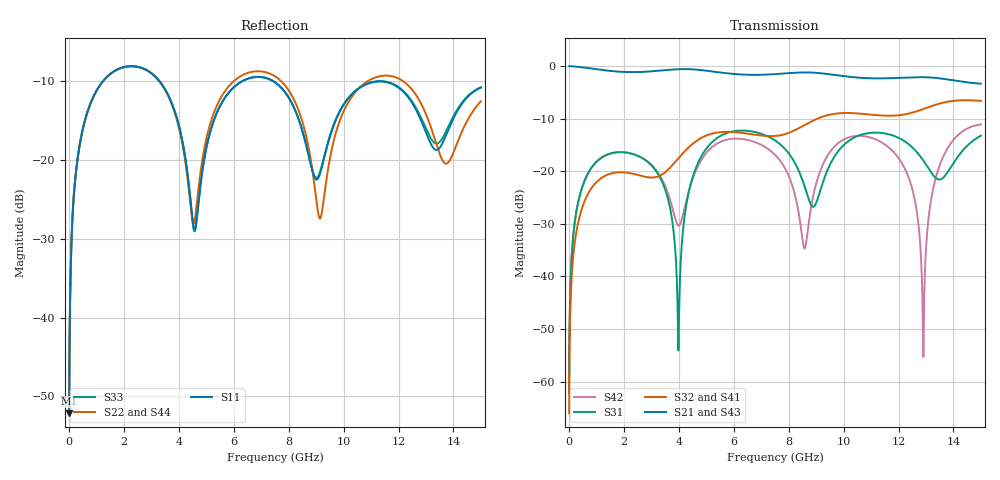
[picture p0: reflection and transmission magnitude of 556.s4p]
! Created with skrf 1.8.0 (http://scikit-rf.org).
# GHz S RI R 50.0
!freq ReS11 ImS11 ReS12 ImS12 ReS13 ImS13
! ReS14 ImS14
! ReS21 ImS21 ReS22 ImS22 ReS23 ImS23
! ReS24 ImS24
! ReS31 ImS31 ReS32 ImS32 ReS33 ImS33
! ReS34 ImS34
! ReS41 ImS41 ReS42 ImS42 ReS43 ImS43
! ReS44 ImS44
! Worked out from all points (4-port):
!   2499 points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, 5 MHz to 15 GHz, reference 50 ohm
!   strongest paths, dB at 5 MHz, 3.476 GHz, 7.19 GHz, 11.1 GHz, 15 GHz:
!     S21: 0.0, -0.8, -1.6, -2.3, -3.3
!     S43: 0.0, -0.8, -1.6, -2.3, -3.4
!     S32: -66.0, -20.3, -13.3, -9.3, -6.6
!     S41: -66.0, -20.3, -13.4, -9.3, -6.6
!     S31: -62.1, -23.1, -13.3, -12.7, -13.2
!     S42: -62.1, -22.5, -15.5, -13.8, -11.1
!   lowest |S11| = -52.1 dB at 5 MHz (marker M1), VSWR 1.00, Z = 50.2 + j0.15 ohm
!   |S11| at or under -10 dB: start of sweep to 1.236 GHz; 3.299 GHz to 6.292 GHz (2.993 GHz wide, 62.4 % of centre); 7.454 GHz to end of sweep
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0.005  0.00197 0.0015  0.998 -0.00383  0.0001 0.000779  -9.7e-05 -0.00049
       0.998 -0.00383  0.00197 0.0015  -9.7e-05 -0.00049  9.99e-05 0.000779
       0.0001 0.000779  -9.7e-05 -0.00049  0.00197 0.0015  0.998 -0.00383
       -9.7e-05 -0.00049  9.99e-05 0.000779  0.998 -0.00383  0.00197 0.0015
1.269279  0.2661 0.1802  0.5596 -0.7225  0.1244 0.0618  -0.0887 -0.00822
          0.5596 -0.7225  0.2661 0.1801  -0.0888 -0.00813  0.1243 0.0619
          0.1244 0.0618  -0.0888 -0.00813  0.2661 0.1802  0.5596 -0.7226
          -0.0887 -0.00822  0.1243 0.0619  0.5596 -0.7226  0.2662 0.1801
3.989162  0.0906 -0.1425  -0.8301 -0.4279  0.00174 0.00108  -0.0578 0.1201
          -0.8301 -0.4279  0.0907 -0.1374  -0.0568 0.1205  -0.0275 -0.0129
          0.00174 0.00108  -0.0568 0.1205  0.0903 -0.1429  -0.8301 -0.4278
          -0.0578 0.1201  -0.0275 -0.0129  -0.8301 -0.4278  0.0912 -0.1374
7.084202  0.3339 -0.0315  0.00703 0.8278  0.1769 -0.1361  0.2026 -0.0744
          0.00703 0.8278  0.358 -0.0645  0.2031 -0.0781  0.1712 -0.029
          0.1769 -0.1361  0.2031 -0.0781  0.3329 -0.0282  0.00744 0.8278
          0.2026 -0.0744  0.1712 -0.029  0.00744 0.8278  0.3584 -0.0675
11.73614  0.3026 -0.0436  0.0345 -0.767  0.1427 -0.169  -0.3313 0.0474
          0.0345 -0.767  0.338 -0.0482  -0.3325 0.0567  0.1429 -0.0723
          0.1427 -0.169  -0.3325 0.0567  0.3056 -0.0369  0.0334 -0.7652
          -0.3313 0.0474  0.1429 -0.0723  0.0334 -0.7652  0.3439 -0.0545
12.90538  0.1483 -0.0718  -0.5367 -0.5714  -0.0699 -0.1051  -0.2805 0.2715
          -0.5367 -0.5714  0.1657 -0.1344  -0.2718 0.2808  -0.0017 -0.000214
          -0.0699 -0.1051  -0.2718 0.2808  0.1588 -0.0679  -0.5362 -0.5701
          -0.2805 0.2715  -0.0017 -0.000214  -0.5362 -0.5701  0.1638 -0.1435
15  0.2829 0.0548  -0.5707 0.3712  0.2099 0.0576  0.3211 0.3374
    -0.5707 0.3712  0.2236 0.0768  0.3306 0.3292  0.2608 0.0973
    0.2099 0.0576  0.3306 0.3292  0.2854 0.0509  -0.5687 0.3726
    0.3211 0.3374  0.2608 0.0973  -0.5687 0.3726  0.2256 0.0813
